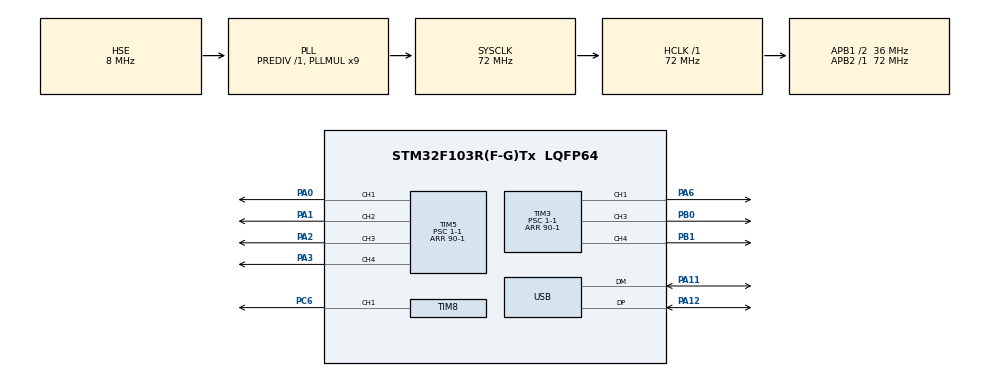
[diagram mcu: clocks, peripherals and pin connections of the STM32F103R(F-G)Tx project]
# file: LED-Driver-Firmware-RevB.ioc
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Dma.Request0=TIM3_CH1/TRIG
Dma.Request1=TIM3_CH3
Dma.Request2=TIM3_CH4/UP
Dma.Request3=TIM5_CH1
Dma.Request4=TIM5_CH2
Dma.Request5=TIM5_CH3/UP
Dma.Request6=TIM5_CH4/TRIG
Dma.Request7=TIM8_CH1
Dma.TIM3_CH1/TRIG.0.Direction=DMA_MEMORY_TO_PERIPH
Dma.TIM3_CH1/TRIG.0.Instance=DMA1_Channel6
Dma.TIM3_CH1/TRIG.0.MemDataAlignment=DMA_MDATAALIGN_BYTE
Dma.TIM3_CH1/TRIG.0.MemInc=DMA_MINC_ENABLE
Dma.TIM3_CH1/TRIG.0.Mode=DMA_NORMAL
Dma.TIM3_CH1/TRIG.0.PeriphDataAlignment=DMA_PDATAALIGN_HALFWORD
Dma.TIM3_CH1/TRIG.0.PeriphInc=DMA_PINC_DISABLE
Dma.TIM3_CH1/TRIG.0.Priority=DMA_PRIORITY_LOW
Dma.TIM3_CH3.1.Direction=DMA_MEMORY_TO_PERIPH
Dma.TIM3_CH3.1.Instance=DMA1_Channel2
Dma.TIM3_CH3.1.MemDataAlignment=DMA_MDATAALIGN_BYTE
Dma.TIM3_CH3.1.MemInc=DMA_MINC_ENABLE
Dma.TIM3_CH3.1.Mode=DMA_NORMAL
Dma.TIM3_CH3.1.PeriphDataAlignment=DMA_PDATAALIGN_HALFWORD
Dma.TIM3_CH3.1.PeriphInc=DMA_PINC_DISABLE
Dma.TIM3_CH3.1.Priority=DMA_PRIORITY_LOW
Dma.TIM3_CH4/UP.2.Direction=DMA_MEMORY_TO_PERIPH
Dma.TIM3_CH4/UP.2.Instance=DMA1_Channel3
Dma.TIM3_CH4/UP.2.MemDataAlignment=DMA_MDATAALIGN_BYTE
Dma.TIM3_CH4/UP.2.MemInc=DMA_MINC_ENABLE
Dma.TIM3_CH4/UP.2.Mode=DMA_NORMAL
Dma.TIM3_CH4/UP.2.PeriphDataAlignment=DMA_PDATAALIGN_HALFWORD
Dma.TIM3_CH4/UP.2.PeriphInc=DMA_PINC_DISABLE
Dma.TIM3_CH4/UP.2.Priority=DMA_PRIORITY_LOW
Dma.TIM5_CH1.3.Direction=DMA_MEMORY_TO_PERIPH
Dma.TIM5_CH1.3.Instance=DMA2_Channel5
Dma.TIM5_CH1.3.MemDataAlignment=DMA_MDATAALIGN_BYTE
Dma.TIM5_CH1.3.MemInc=DMA_MINC_ENABLE
Dma.TIM5_CH1.3.Mode=DMA_NORMAL
Dma.TIM5_CH1.3.PeriphDataAlignment=DMA_PDATAALIGN_HALFWORD
Dma.TIM5_CH1.3.PeriphInc=DMA_PINC_DISABLE
Dma.TIM5_CH1.3.Priority=DMA_PRIORITY_LOW
Dma.TIM5_CH2.4.Direction=DMA_MEMORY_TO_PERIPH
Dma.TIM5_CH2.4.Instance=DMA2_Channel4
Dma.TIM5_CH2.4.MemDataAlignment=DMA_MDATAALIGN_BYTE
Dma.TIM5_CH2.4.MemInc=DMA_MINC_ENABLE
Dma.TIM5_CH2.4.Mode=DMA_NORMAL
Dma.TIM5_CH2.4.PeriphDataAlignment=DMA_PDATAALIGN_HALFWORD
Dma.TIM5_CH2.4.PeriphInc=DMA_PINC_DISABLE
Dma.TIM5_CH2.4.Priority=DMA_PRIORITY_LOW
Dma.TIM5_CH3/UP.5.Direction=DMA_MEMORY_TO_PERIPH
Dma.TIM5_CH3/UP.5.Instance=DMA2_Channel2
Dma.TIM5_CH3/UP.5.MemDataAlignment=DMA_MDATAALIGN_BYTE
Dma.TIM5_CH3/UP.5.MemInc=DMA_MINC_ENABLE
Dma.TIM5_CH3/UP.5.Mode=DMA_NORMAL
Dma.TIM5_CH3/UP.5.PeriphDataAlignment=DMA_PDATAALIGN_HALFWORD
Dma.TIM5_CH3/UP.5.PeriphInc=DMA_PINC_DISABLE
Dma.TIM5_CH3/UP.5.Priority=DMA_PRIORITY_LOW
Dma.TIM5_CH4/TRIG.6.Direction=DMA_MEMORY_TO_PERIPH
Dma.TIM5_CH4/TRIG.6.Instance=DMA2_Channel1
Dma.TIM5_CH4/TRIG.6.MemDataAlignment=DMA_MDATAALIGN_BYTE
Dma.TIM5_CH4/TRIG.6.MemInc=DMA_MINC_ENABLE
Dma.TIM5_CH4/TRIG.6.Mode=DMA_NORMAL
Dma.TIM5_CH4/TRIG.6.PeriphDataAlignment=DMA_PDATAALIGN_HALFWORD
Dma.TIM5_CH4/TRIG.6.PeriphInc=DMA_PINC_DISABLE
Dma.TIM5_CH4/TRIG.6.Priority=DMA_PRIORITY_LOW
Dma.TIM8_CH1.7.Direction=DMA_MEMORY_TO_PERIPH
Dma.TIM8_CH1.7.Instance=DMA2_Channel3
Dma.TIM8_CH1.7.MemDataAlignment=DMA_MDATAALIGN_BYTE
Dma.TIM8_CH1.7.MemInc=DMA_MINC_ENABLE
Dma.TIM8_CH1.7.Mode=DMA_NORMAL
Dma.TIM8_CH1.7.PeriphDataAlignment=DMA_PDATAALIGN_HALFWORD
Dma.TIM8_CH1.7.PeriphInc=DMA_PINC_DISABLE
Dma.TIM8_CH1.7.Priority=DMA_PRIORITY_LOW
Mcu.Family=STM32F1
Mcu.Name=STM32F103R(F-G)Tx
Mcu.Package=LQFP64
NVIC.DMA1_Channel2_IRQn=true\:0\:0\:false\:false\:true\:false\:true\:true
NVIC.DMA1_Channel3_IRQn=true\:0\:0\:false\:false\:true\:false\:true\:true
NVIC.DMA1_Channel6_IRQn=true\:0\:0\:false\:false\:true\:false\:true\:true
NVIC.DMA2_Channel1_IRQn=true\:0\:0\:false\:false\:true\:false\:true\:true
NVIC.DMA2_Channel2_IRQn=true\:0\:0\:false\:false\:true\:false\:true\:true
NVIC.DMA2_Channel3_IRQn=true\:0\:0\:false\:false\:true\:false\:true\:true
NVIC.DMA2_Channel4_5_IRQn=true\:0\:0\:false\:false\:true\:false\:true\:true
NVIC.PriorityGroup=NVIC_PRIORITYGROUP_4
NVIC.TIM3_IRQn=true\:0\:0\:false\:false\:true\:true\:true\:true
NVIC.TIM5_IRQn=true\:0\:0\:false\:false\:true\:true\:true\:true
NVIC.TIM8_BRK_TIM12_IRQn=true\:0\:0\:false\:false\:true\:true\:true\:true
NVIC.TIM8_CC_IRQn=true\:0\:0\:false\:false\:true\:true\:true\:true
NVIC.TIM8_TRG_COM_TIM14_IRQn=true\:0\:0\:false\:false\:true\:true\:true\:true
NVIC.TIM8_UP_TIM13_IRQn=true\:0\:0\:false\:false\:true\:true\:true\:true
NVIC.USB_LP_CAN1_RX0_IRQn=true\:0\:0\:false\:false\:true\:false\:true\:true
PA0-WKUP.Signal=S_TIM5_CH1
PA1.Signal=S_TIM5_CH2
PA11.Mode=Device
PA11.Signal=USB_DM
PA12.Mode=Device
PA12.Signal=USB_DP
PA13.Mode=Trace_Asynchronous_SW
PA13.Signal=SYS_JTMS-SWDIO
PA14.Mode=Trace_Asynchronous_SW
PA14.Signal=SYS_JTCK-SWCLK
PA2.Signal=S_TIM5_CH3
PA3.Signal=S_TIM5_CH4
PA6.Signal=S_TIM3_CH1
PB0.Signal=S_TIM3_CH3
PB1.Signal=S_TIM3_CH4
PB3.Mode=Trace_Asynchronous_SW
PB3.Signal=SYS_JTDO-TRACESWO
PC6.Signal=S_TIM8_CH1
PD0-OSC_IN.Mode=HSE-External-Oscillator
PD0-OSC_IN.Signal=RCC_OSC_IN
PD1-OSC_OUT.Mode=HSE-External-Oscillator
PD1-OSC_OUT.Signal=RCC_OSC_OUT
ProjectManager.HeapSize=0x200
ProjectManager.StackSize=0x400
ProjectManager.TargetToolchain=Makefile
RCC.AHBFreq_Value=72000000
RCC.APB1CLKDivider=RCC_HCLK_DIV2
RCC.APB1Freq_Value=36000000
RCC.APB1TimFreq_Value=72000000
RCC.APB2Freq_Value=72000000
RCC.APB2TimFreq_Value=72000000
RCC.HCLKFreq_Value=72000000
RCC.PLLMUL=RCC_PLL_MUL9
RCC.SYSCLKFreq_VALUE=72000000
RCC.SYSCLKSource=RCC_SYSCLKSOURCE_PLLCLK
RCC.USBFreq_Value=48000000
RCC.USBPrescaler=RCC_USBCLKSOURCE_PLL_DIV1_5
SH.S_TIM3_CH1.0=TIM3_CH1,PWM Generation1 CH1
SH.S_TIM3_CH3.0=TIM3_CH3,PWM Generation3 CH3
SH.S_TIM3_CH4.0=TIM3_CH4,PWM Generation4 CH4
SH.S_TIM5_CH1.0=TIM5_CH1,PWM Generation1 CH1
SH.S_TIM5_CH2.0=TIM5_CH2,PWM Generation2 CH2
SH.S_TIM5_CH3.0=TIM5_CH3,PWM Generation3 CH3
SH.S_TIM5_CH4.0=TIM5_CH4,PWM Generation4 CH4
SH.S_TIM8_CH1.0=TIM8_CH1,PWM Generation1 CH1
TIM3.Channel-PWM\ Generation1\ CH1=TIM_CHANNEL_1
TIM3.Channel-PWM\ Generation3\ CH3=TIM_CHANNEL_3
TIM3.Channel-PWM\ Generation4\ CH4=TIM_CHANNEL_4
TIM3.Period=90-1
TIM3.Prescaler=1-1
TIM5.Channel-PWM\ Generation1\ CH1=TIM_CHANNEL_1
TIM5.Channel-PWM\ Generation2\ CH2=TIM_CHANNEL_2
TIM5.Channel-PWM\ Generation3\ CH3=TIM_CHANNEL_3
TIM5.Channel-PWM\ Generation4\ CH4=TIM_CHANNEL_4
TIM5.Period=90-1
TIM5.Prescaler=1-1
TIM8.Channel-PWM\ Generation1\ CH1=TIM_CHANNEL_1
TIM8.Period=90-1
TIM8.Prescaler=1-1
USB_DEVICE.CLASS_NAME_FS=CDC
USB_DEVICE.VirtualMode=Cdc
USB_DEVICE.VirtualModeFS=Cdc_FS
VP_USB_DEVICE_VS_USB_DEVICE_CDC_FS.Mode=CDC_FS
board=custom

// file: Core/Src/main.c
/* USER CODE BEGIN Header */
/**
  ******************************************************************************
  * @file           : main.c
  * @brief          : Main program body
  ******************************************************************************
  * @attention
  *
  * Copyright (c) 2025 STMicroelectronics.
  * All rights reserved.
  *
  * This software is licensed under terms that can be found in the LICENSE file
  * in the root directory of this software component.
  * If no LICENSE file comes with this software, it is provided AS-IS.
  *
  ******************************************************************************
  */
/* USER CODE END Header */
#include "main.h"
#include "usb_device.h"

/* USER CODE BEGIN Includes */
#include "usb_protocol.h"
#include "LEDStrip_Manager.h"
#include "SK6812-LEDStrip.h"
/* USER CODE END Includes */

TIM_HandleTypeDef htim3;
TIM_HandleTypeDef htim5;
TIM_HandleTypeDef htim8;
DMA_HandleTypeDef hdma_tim3_ch1_trig;
DMA_HandleTypeDef hdma_tim3_ch3;
DMA_HandleTypeDef hdma_tim3_ch4_up;
DMA_HandleTypeDef hdma_tim5_ch1;
DMA_HandleTypeDef hdma_tim5_ch2;
DMA_HandleTypeDef hdma_tim5_ch3_up;
DMA_HandleTypeDef hdma_tim5_ch4_trig;
DMA_HandleTypeDef hdma_tim8_ch1;

void SystemClock_Config(void);
static void MX_GPIO_Init(void);
static void MX_DMA_Init(void);
static void MX_TIM3_Init(void);
static void MX_TIM5_Init(void);
static void MX_TIM8_Init(void);

int main(void)
{

  /* MCU Configuration--------------------------------------------------------*/

  /* Reset of all peripherals, Initializes the Flash interface and the Systick. */
  HAL_Init();

  /* Configure the system clock */
  SystemClock_Config();

  /* Initialize all configured peripherals */
  MX_GPIO_Init();
  MX_DMA_Init();
  MX_TIM3_Init();
  MX_TIM5_Init();
  MX_TIM8_Init();
  MX_USB_DEVICE_Init();
  /* USER CODE BEGIN 2 */
	LEDStrip_Manager_Init();

	// Initialize USB protocol parser
	protocol_init();
  /* USER CODE END 2 */

  /* Infinite loop */
  while (1)
  {

    /* USER CODE BEGIN 3 */

    // Check if a new LED frame is ready from USB
    if (protocol_new_frame_ready())
    {
        // Get pointer to active frame buffer
        const uint8_t *frame = protocol_get_active_frame();

        // Frame layout: 8 strips * 120 LEDs * 3 bytes (RGB)
        // Each strip: 360 bytes (120 LEDs * 3)
        // Total: 2880 bytes
        //
        // Byte layout in frame buffer:
        // Strip 0: frame[0..359]     - LEDs 0..119 as R,G,B triplets
        // Strip 1: frame[360..719]   - LEDs 0..119 as R,G,B triplets
        // ...
        // Strip 7: frame[2520..2879] - LEDs 0..119 as R,G,B triplets

        // Update all 8 LED strips
        for (uint8_t strip = 0; strip < LEDSTRIP_COUNT; strip++)
        {
            SK6812_HandleTypeDef *strip_handle = LEDStrip_Manager_Get_Strip_Handle(strip);

            // Calculate offset into frame buffer for this strip
            uint16_t strip_offset = strip * LEDS_PER_STRIP * BYTES_PER_LED;

            // Update each LED in this strip
            for (uint16_t led = 0; led < LEDS_PER_STRIP; led++)
            {
                uint16_t led_offset = strip_offset + (led * BYTES_PER_LED);

                // Extract RGB values from frame (frame format is R,G,B)
                uint8_t r = frame[led_offset + 0];
                uint8_t g = frame[led_offset + 1];
                uint8_t b = frame[led_offset + 2];

                // Set the color (SK6812_SetColour takes R, G, B)
                SK6812_SetColour(strip_handle, led, r, g, b);
            }
        }

        // Send updated data to all LED strips
        // Note: This is blocking and will take time proportional to number of LEDs
        for (uint8_t strip = 0; strip < LEDSTRIP_COUNT; strip++)
        {
            SK6812_HandleTypeDef *strip_handle = LEDStrip_Manager_Get_Strip_Handle(strip);
            SK6812_Update(strip_handle);
        }

        // Acknowledge that we've processed this frame
        protocol_ack_frame();
    }

    // Small delay to prevent tight spinning (optional)
    HAL_Delay(1);
  }
  /* USER CODE END 3 */
}

void SystemClock_Config(void)
{
  RCC_OscInitTypeDef RCC_OscInitStruct = {0};
  RCC_ClkInitTypeDef RCC_ClkInitStruct = {0};
  RCC_PeriphCLKInitTypeDef PeriphClkInit = {0};

  /** Initializes the RCC Oscillators according to the specified parameters
  * in the RCC_OscInitTypeDef structure.
  */
  RCC_OscInitStruct.OscillatorType = RCC_OSCILLATORTYPE_HSE;
  RCC_OscInitStruct.HSEState = RCC_HSE_ON;
  RCC_OscInitStruct.HSEPredivValue = RCC_HSE_PREDIV_DIV1;
  RCC_OscInitStruct.HSIState = RCC_HSI_ON;
  RCC_OscInitStruct.PLL.PLLState = RCC_PLL_ON;
  RCC_OscInitStruct.PLL.PLLSource = RCC_PLLSOURCE_HSE;
  RCC_OscInitStruct.PLL.PLLMUL = RCC_PLL_MUL9;
  if (HAL_RCC_OscConfig(&RCC_OscInitStruct) != HAL_OK)
  {
    Error_Handler();
  }

  /** Initializes the CPU, AHB and APB buses clocks
  */
  RCC_ClkInitStruct.ClockType = RCC_CLOCKTYPE_HCLK|RCC_CLOCKTYPE_SYSCLK
                              |RCC_CLOCKTYPE_PCLK1|RCC_CLOCKTYPE_PCLK2;
  RCC_ClkInitStruct.SYSCLKSource = RCC_SYSCLKSOURCE_PLLCLK;
  RCC_ClkInitStruct.AHBCLKDivider = RCC_SYSCLK_DIV1;
  RCC_ClkInitStruct.APB1CLKDivider = RCC_HCLK_DIV2;
  RCC_ClkInitStruct.APB2CLKDivider = RCC_HCLK_DIV1;

  if (HAL_RCC_ClockConfig(&RCC_ClkInitStruct, FLASH_LATENCY_2) != HAL_OK)
  {
    Error_Handler();
  }
  PeriphClkInit.PeriphClockSelection = RCC_PERIPHCLK_USB;
  PeriphClkInit.UsbClockSelection = RCC_USBCLKSOURCE_PLL_DIV1_5;
  if (HAL_RCCEx_PeriphCLKConfig(&PeriphClkInit) != HAL_OK)
  {
    Error_Handler();
  }
}

static void MX_TIM3_Init(void)
{

  TIM_MasterConfigTypeDef sMasterConfig = {0};
  TIM_OC_InitTypeDef sConfigOC = {0};

  htim3.Instance = TIM3;
  htim3.Init.Prescaler = 1-1;
  htim3.Init.CounterMode = TIM_COUNTERMODE_UP;
  htim3.Init.Period = 90-1;
  htim3.Init.ClockDivision = TIM_CLOCKDIVISION_DIV1;
  htim3.Init.AutoReloadPreload = TIM_AUTORELOAD_PRELOAD_DISABLE;
  if (HAL_TIM_PWM_Init(&htim3) != HAL_OK)
  {
    Error_Handler();
  }
  sMasterConfig.MasterOutputTrigger = TIM_TRGO_RESET;
  sMasterConfig.MasterSlaveMode = TIM_MASTERSLAVEMODE_DISABLE;
  if (HAL_TIMEx_MasterConfigSynchronization(&htim3, &sMasterConfig) != HAL_OK)
  {
    Error_Handler();
  }
  sConfigOC.OCMode = TIM_OCMODE_PWM1;
  sConfigOC.Pulse = 0;
  sConfigOC.OCPolarity = TIM_OCPOLARITY_HIGH;
  sConfigOC.OCFastMode = TIM_OCFAST_DISABLE;
  if (HAL_TIM_PWM_ConfigChannel(&htim3, &sConfigOC, TIM_CHANNEL_1) != HAL_OK)
  {
    Error_Handler();
  }
  if (HAL_TIM_PWM_ConfigChannel(&htim3, &sConfigOC, TIM_CHANNEL_3) != HAL_OK)
  {
    Error_Handler();
  }
  if (HAL_TIM_PWM_ConfigChannel(&htim3, &sConfigOC, TIM_CHANNEL_4) != HAL_OK)
  {
    Error_Handler();
  }
  HAL_TIM_MspPostInit(&htim3);

}

static void MX_TIM5_Init(void)
{

  TIM_MasterConfigTypeDef sMasterConfig = {0};
  TIM_OC_InitTypeDef sConfigOC = {0};

  htim5.Instance = TIM5;
  htim5.Init.Prescaler = 1-1;
  htim5.Init.CounterMode = TIM_COUNTERMODE_UP;
  htim5.Init.Period = 90-1;
  htim5.Init.ClockDivision = TIM_CLOCKDIVISION_DIV1;
  htim5.Init.AutoReloadPreload = TIM_AUTORELOAD_PRELOAD_DISABLE;
  if (HAL_TIM_PWM_Init(&htim5) != HAL_OK)
  {
    Error_Handler();
  }
  sMasterConfig.MasterOutputTrigger = TIM_TRGO_RESET;
  sMasterConfig.MasterSlaveMode = TIM_MASTERSLAVEMODE_DISABLE;
  if (HAL_TIMEx_MasterConfigSynchronization(&htim5, &sMasterConfig) != HAL_OK)
  {
    Error_Handler();
  }
  sConfigOC.OCMode = TIM_OCMODE_PWM1;
  sConfigOC.Pulse = 0;
  sConfigOC.OCPolarity = TIM_OCPOLARITY_HIGH;
  sConfigOC.OCFastMode = TIM_OCFAST_DISABLE;
  if (HAL_TIM_PWM_ConfigChannel(&htim5, &sConfigOC, TIM_CHANNEL_1) != HAL_OK)
  {
    Error_Handler();
  }
  if (HAL_TIM_PWM_ConfigChannel(&htim5, &sConfigOC, TIM_CHANNEL_2) != HAL_OK)
  {
    Error_Handler();
  }
  if (HAL_TIM_PWM_ConfigChannel(&htim5, &sConfigOC, TIM_CHANNEL_3) != HAL_OK)
  {
    Error_Handler();
  }
  if (HAL_TIM_PWM_ConfigChannel(&htim5, &sConfigOC, TIM_CHANNEL_4) != HAL_OK)
  {
    Error_Handler();
  }
  HAL_TIM_MspPostInit(&htim5);

}

static void MX_TIM8_Init(void)
{

  TIM_MasterConfigTypeDef sMasterConfig = {0};
  TIM_OC_InitTypeDef sConfigOC = {0};
  TIM_BreakDeadTimeConfigTypeDef sBreakDeadTimeConfig = {0};

  htim8.Instance = TIM8;
  htim8.Init.Prescaler = 1-1;
  htim8.Init.CounterMode = TIM_COUNTERMODE_UP;
  htim8.Init.Period = 90-1;
  htim8.Init.ClockDivision = TIM_CLOCKDIVISION_DIV1;
  htim8.Init.RepetitionCounter = 0;
  htim8.Init.AutoReloadPreload = TIM_AUTORELOAD_PRELOAD_DISABLE;
  if (HAL_TIM_PWM_Init(&htim8) != HAL_OK)
  {
    Error_Handler();
  }
  sMasterConfig.MasterOutputTrigger = TIM_TRGO_RESET;
  sMasterConfig.MasterSlaveMode = TIM_MASTERSLAVEMODE_DISABLE;
  if (HAL_TIMEx_MasterConfigSynchronization(&htim8, &sMasterConfig) != HAL_OK)
  {
    Error_Handler();
  }
  sConfigOC.OCMode = TIM_OCMODE_PWM1;
  sConfigOC.Pulse = 0;
  sConfigOC.OCPolarity = TIM_OCPOLARITY_HIGH;
  sConfigOC.OCNPolarity = TIM_OCNPOLARITY_HIGH;
  sConfigOC.OCFastMode = TIM_OCFAST_DISABLE;
  sConfigOC.OCIdleState = TIM_OCIDLESTATE_RESET;
  sConfigOC.OCNIdleState = TIM_OCNIDLESTATE_RESET;
  if (HAL_TIM_PWM_ConfigChannel(&htim8, &sConfigOC, TIM_CHANNEL_1) != HAL_OK)
  {
    Error_Handler();
  }
  sBreakDeadTimeConfig.OffStateRunMode = TIM_OSSR_DISABLE;
  sBreakDeadTimeConfig.OffStateIDLEMode = TIM_OSSI_DISABLE;
  sBreakDeadTimeConfig.LockLevel = TIM_LOCKLEVEL_OFF;
  sBreakDeadTimeConfig.DeadTime = 0;
  sBreakDeadTimeConfig.BreakState = TIM_BREAK_DISABLE;
  sBreakDeadTimeConfig.BreakPolarity = TIM_BREAKPOLARITY_HIGH;
  sBreakDeadTimeConfig.AutomaticOutput = TIM_AUTOMATICOUTPUT_DISABLE;
  if (HAL_TIMEx_ConfigBreakDeadTime(&htim8, &sBreakDeadTimeConfig) != HAL_OK)
  {
    Error_Handler();
  }
  HAL_TIM_MspPostInit(&htim8);

}

static void MX_DMA_Init(void)
{

  /* DMA controller clock enable */
  __HAL_RCC_DMA1_CLK_ENABLE();
  __HAL_RCC_DMA2_CLK_ENABLE();

  /* DMA interrupt init */
  /* DMA1_Channel2_IRQn interrupt configuration */
  HAL_NVIC_SetPriority(DMA1_Channel2_IRQn, 0, 0);
  HAL_NVIC_EnableIRQ(DMA1_Channel2_IRQn);
  /* DMA1_Channel3_IRQn interrupt configuration */
  HAL_NVIC_SetPriority(DMA1_Channel3_IRQn, 0, 0);
  HAL_NVIC_EnableIRQ(DMA1_Channel3_IRQn);
  /* DMA1_Channel6_IRQn interrupt configuration */
  HAL_NVIC_SetPriority(DMA1_Channel6_IRQn, 0, 0);
  HAL_NVIC_EnableIRQ(DMA1_Channel6_IRQn);
  /* DMA2_Channel1_IRQn interrupt configuration */
  HAL_NVIC_SetPriority(DMA2_Channel1_IRQn, 0, 0);
  HAL_NVIC_EnableIRQ(DMA2_Channel1_IRQn);
  /* DMA2_Channel2_IRQn interrupt configuration */
  HAL_NVIC_SetPriority(DMA2_Channel2_IRQn, 0, 0);
  HAL_NVIC_EnableIRQ(DMA2_Channel2_IRQn);
  /* DMA2_Channel3_IRQn interrupt configuration */
  HAL_NVIC_SetPriority(DMA2_Channel3_IRQn, 0, 0);
  HAL_NVIC_EnableIRQ(DMA2_Channel3_IRQn);
  /* DMA2_Channel4_5_IRQn interrupt configuration */
  HAL_NVIC_SetPriority(DMA2_Channel4_5_IRQn, 0, 0);
  HAL_NVIC_EnableIRQ(DMA2_Channel4_5_IRQn);

}

static void MX_GPIO_Init(void)
{

  /* GPIO Ports Clock Enable */
  __HAL_RCC_GPIOD_CLK_ENABLE();
  __HAL_RCC_GPIOA_CLK_ENABLE();
  __HAL_RCC_GPIOB_CLK_ENABLE();
  __HAL_RCC_GPIOC_CLK_ENABLE();

}

void Error_Handler(void)
{
  __disable_irq();
  while (1)
  {
  }
}
